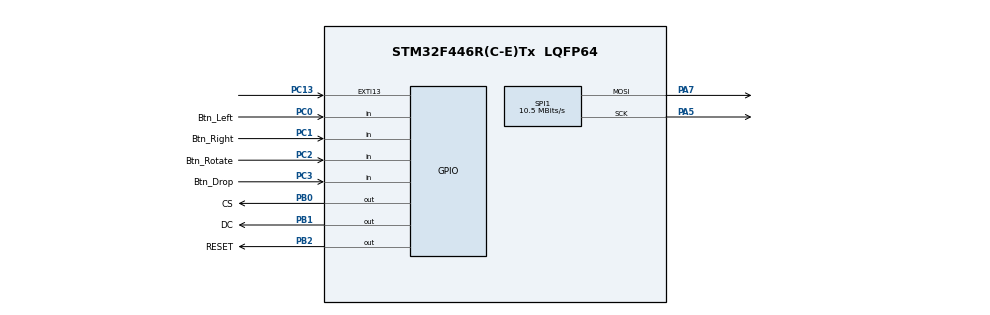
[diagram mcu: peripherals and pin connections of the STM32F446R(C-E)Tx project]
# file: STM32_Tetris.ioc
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Dma.Request0=SPI1_TX
Dma.SPI1_TX.0.Direction=DMA_MEMORY_TO_PERIPH
Dma.SPI1_TX.0.FIFOMode=DMA_FIFOMODE_DISABLE
Dma.SPI1_TX.0.Instance=DMA2_Stream3
Dma.SPI1_TX.0.MemDataAlignment=DMA_MDATAALIGN_BYTE
Dma.SPI1_TX.0.MemInc=DMA_MINC_ENABLE
Dma.SPI1_TX.0.Mode=DMA_NORMAL
Dma.SPI1_TX.0.PeriphDataAlignment=DMA_PDATAALIGN_BYTE
Dma.SPI1_TX.0.PeriphInc=DMA_PINC_DISABLE
Dma.SPI1_TX.0.Priority=DMA_PRIORITY_HIGH
Mcu.Family=STM32F4
Mcu.Name=STM32F446R(C-E)Tx
Mcu.Package=LQFP64
NUCLEO-F446RE.BUTTON=1
NUCLEO-F446RE.Bsp_Common_DEMO=true
NUCLEO-F446RE.LD1=true
NVIC.DMA2_Stream3_IRQn=true\:0\:0\:false\:false\:true\:false\:true\:true
NVIC.EXTI15_10_IRQn=true\:0\:0\:false\:false\:true\:false\:true\:true
NVIC.PriorityGroup=NVIC_PRIORITYGROUP_0
PA13.GPIO_Label=TMS
PA13.Signal=SYS_JTMS-SWDIO
PA14.GPIO_Label=TCK
PA14.Signal=SYS_JTCK-SWCLK
PA2.GPIO_Label=USART_TX
PA2.Signal=USART2_TX
PA3.GPIO_Label=USART_RX
PA3.Signal=USART2_RX
PA5.Mode=TX_Only_Simplex_Unidirect_Master
PA5.Signal=SPI1_SCK
PA7.Mode=TX_Only_Simplex_Unidirect_Master
PA7.Signal=SPI1_MOSI
PB0.GPIO_Label=CS
PB0.Signal=GPIO_Output
PB1.GPIO_Label=DC
PB1.Signal=GPIO_Output
PB2.GPIO_Label=RESET
PB2.Signal=GPIO_Output
PB3.GPIO_Label=SWO
PB3.Signal=SYS_JTDO-SWO
PC0.GPIO_Label=Btn_Left
PC0.GPIO_PuPd=GPIO_PULLUP
PC0.Signal=GPIO_Input
PC1.GPIO_Label=Btn_Right
PC1.GPIO_PuPd=GPIO_PULLUP
PC1.Signal=GPIO_Input
PC13.Signal=GPXTI13
PC14-OSC32_IN.Signal=RCC_OSC32_IN
PC15-OSC32_OUT.Signal=RCC_OSC32_OUT
PC2.GPIO_Label=Btn_Rotate
PC2.GPIO_PuPd=GPIO_PULLUP
PC2.Signal=GPIO_Input
PC3.GPIO_Label=Btn_Drop
PC3.GPIO_PuPd=GPIO_PULLUP
PC3.Signal=GPIO_Input
PH0-OSC_IN.Mode=HSE-External-Clock-Source
PH0-OSC_IN.Signal=RCC_OSC_IN
PH1-OSC_OUT.Mode=HSE-External-Clock-Source
PH1-OSC_OUT.Signal=RCC_OSC_OUT
ProjectManager.HeapSize=0x200
ProjectManager.StackSize=0x400
ProjectManager.TargetToolchain=EWARM V8.50
RCC.AHBFreq_Value=84000000
RCC.APB1CLKDivider=RCC_HCLK_DIV2
RCC.APB1Freq_Value=42000000
RCC.APB1TimFreq_Value=84000000
RCC.APB2Freq_Value=84000000
RCC.APB2TimFreq_Value=84000000
RCC.CortexFreq_Value=84000000
RCC.FLatency-AdvancedSettings=FLASH_LATENCY_2
RCC.HCLKFreq_Value=84000000
RCC.HSE_VALUE=8000000
RCC.HSI_VALUE=16000000
RCC.LSE_VALUE=32768
RCC.PLLN=336
RCC.PLLP=RCC_PLLP_DIV4
RCC.SYSCLKFreq_VALUE=84000000
RCC.SYSCLKSource=RCC_SYSCLKSOURCE_PLLCLK
RCC.USBFreq_Value=168000000
RCC.VCOOutputFreq_Value=336000000
SPI1.BaudRatePrescaler=SPI_BAUDRATEPRESCALER_8
SPI1.CalculateBaudRate=10.5 MBits/s
SPI1.DataSize=SPI_DATASIZE_8BIT
SPI1.Direction=SPI_DIRECTION_2LINES
SPI1.Mode=SPI_MODE_MASTER
SPI1.VirtualType=VM_MASTER
VP_NUCLEO-F446RE_VS_BSP_COMMON.Mode=COMMON
board=NUCLEO-F446RE

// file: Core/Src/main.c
/* USER CODE BEGIN Header */
/**
 ******************************************************************************
 * @file           : main.c
 * @brief          : Main program body
 ******************************************************************************
 * @attention
 *
 * Copyright (c) 2026 STMicroelectronics.
 * All rights reserved.
 *
 * This software is licensed under terms that can be found in the LICENSE file
 * in the root directory of this software component.
 * If no LICENSE file comes with this software, it is provided AS-IS.
 *
 ******************************************************************************
 */
/* USER CODE END Header */
#include "main.h"
#include "dma.h"
#include "gpio.h"
#include "spi.h"

/* USER CODE BEGIN Includes */
#include "display.h"
#include "tetris_core.h"
#include "tetromino.h"
#include <stdbool.h>
#include <stdio.h>

/* USER CODE END Includes */

/* Button state */
/* Level 1 Bare-metal: Button state definitions */
#define BUTTON_RELEASED 0U
#define BUTTON_PRESSED 1U

/* USER CODE BEGIN PV */
// UART_HandleTypeDef huart2;
/* USER CODE END PV */

/* SysTick millisecond counter */
volatile uint32_t ms_ticks = 0;

// documented in STM arm M4 MCU programming manual
void systick_init(uint32_t sys_clk_hz) {
  // 1 mm tick
  SysTick->LOAD = (sys_clk_hz / 1000U) - 1U;
  SysTick->VAL = 0U;

  // Control aand Status register
  // Tells the timer to use the main processor clock rather than an external,
  // slower clock, enables the hardware exception request and turns the timer on
  // and starts the actual countdown.
  SysTick->CTRL = SysTick_CTRL_CLKSOURCE_Msk | SysTick_CTRL_TICKINT_Msk |
                  SysTick_CTRL_ENABLE_Msk;
}

uint32_t get_millis(void) { return ms_ticks; }

void delay_ms(uint32_t ms) {
  uint32_t start = ms_ticks;
  while ((ms_ticks - start) < ms)
    ;
}

void SystemClock_Config(void);
/* USER CODE BEGIN PFP */
// void MX_USART2_UART_Init(void);
/* USER CODE END PFP */

/* USER CODE BEGIN 0 */
/* --- Original HAL UART (Commented Out) ---
void MX_USART2_UART_Init(void) {
  __HAL_RCC_USART2_CLK_ENABLE();
  huart2.Instance = USART2;
  ...
}

int _write(int file, char *ptr, int len) {
  (void)file;
  HAL_UART_Transmit(&huart2, (uint8_t *)ptr, len, HAL_MAX_DELAY);
  return len;
}
--- End Original HAL UART --- */
/* USER CODE END 0 */

int main(void) {

  /* MCU Configuration--------------------------------------------------------*/

  /* Level 1 Bare-metal: Commented out HAL_Init() */
  // HAL_Init();

  /* Initialize SysTick timer for 1ms interrupts (default 16MHz HSI clock) */
  systick_init(16000000U);

  /* Configure the system clock */
  SystemClock_Config();

  /* Initialize all configured peripherals */
  MX_GPIO_Init();
  MX_DMA_Init();
  MX_SPI1_Init();
  /* USER CODE BEGIN 2 */
  // MX_USART2_UART_Init();

  display_init();

  tetris_game_t game;
  tetris_init(&game);
  display_render_game(&game);
  /* USER CODE END 2 */

  /* Infinite loop */
  /* USER CODE BEGIN WHILE */
  uint32_t last_gravity_time = get_millis();
  uint32_t last_frame_time = get_millis();

  uint8_t prev_left = 1;
  uint8_t prev_right = 1;
  uint8_t prev_rotate = 1;
  uint8_t prev_drop = 1;

  while (true) {
    uint32_t now = get_millis();

    /* --- Original HAL ReadPin ---
    GPIO_PinState curr_left = HAL_GPIO_ReadPin(Btn_Left_GPIO_Port,
    Btn_Left_Pin); GPIO_PinState curr_right =
    HAL_GPIO_ReadPin(Btn_Right_GPIO_Port, Btn_Right_Pin); GPIO_PinState
    curr_rotate = HAL_GPIO_ReadPin(Btn_Rotate_GPIO_Port, Btn_Rotate_Pin);
    GPIO_PinState curr_drop = HAL_GPIO_ReadPin(Btn_Drop_GPIO_Port,
    Btn_Drop_Pin);
    ---------------------------------------------- */

    /* Read from GPIOC input data registers for button states */
    uint8_t curr_left = (GPIOC->IDR >> Btn_Left_Pin_Pos) & 1U;
    uint8_t curr_right = (GPIOC->IDR >> Btn_Right_Pin_Pos) & 1U;
    uint8_t curr_rotate = (GPIOC->IDR >> Btn_Rotate_Pin_Pos) & 1U;
    uint8_t curr_drop = (GPIOC->IDR >> Btn_Drop_Pin_Pos) & 1U;

    tetris_input_t input = TETRIS_INPUT_NONE;

    if (prev_left == 1 && curr_left == 0) {
      input |= TETRIS_INPUT_LEFT;
    }
    if (prev_right == 1 && curr_right == 0) {
      input |= TETRIS_INPUT_RIGHT;
    }
    if (prev_rotate == 1 && curr_rotate == 0) {
      input |= TETRIS_INPUT_ROTATE;
    }
    if (prev_drop == 1 && curr_drop == 0) {
      input |= TETRIS_INPUT_DROP;
    }

    prev_left = curr_left;
    prev_right = curr_right;
    prev_rotate = curr_rotate;
    prev_drop = curr_drop;

    // If game over and any button pressed, restart
    if (game.state == TETRIS_STATE_GAME_OVER && input != TETRIS_INPUT_NONE) {
      tetris_init(&game);
      display_render_game(&game);
      input = TETRIS_INPUT_NONE;
    }

    // Gravity Tick Calculation (speeds up with level)
    uint32_t gravity_interval = 800;
    if (game.level > 1 && game.level <= 10) {
      gravity_interval = 800 - (game.level - 1) * 70;
    } else if (game.level > 10) {
      gravity_interval = 120;
    }

    bool gravity_tick = false;
    if (now - last_gravity_time >= gravity_interval) {
      gravity_tick = true;
      last_gravity_time = now;
    }

    // Step Game Simulation
    if (input != TETRIS_INPUT_NONE || gravity_tick) {
      tetris_step(&game, input, gravity_tick);
    }

    //  every 25 ms (1/25e-3 = 40fps)
    if (now - last_frame_time >= 25) {
      last_frame_time = now;
      display_render_game(&game);
    }

    delay_ms(10);
    /* USER CODE END WHILE */

  }
}

void SystemClock_Config(void) {
  /* =========================================================================
   * Bare-Metal Clock Configuration (To be implemented by you if desired)
   * Refer to Reference Manual RM0390 -> Section: Reset and Clock Control (RCC)
   * By default on reset, the STM32F446 runs on the internal 16MHz HSI clock.
   * If configuring PLL (e.g. up to 180MHz):
   * 1. Enable PWR clock, configure voltage scaling (PWR->CR)
   * 2. Configure Flash latency wait states (FLASH->ACR)
   * 3. Configure PLL multipliers/dividers (RCC->PLLCFGR)
   * 4. Enable PLL and wait for PLLRDY (RCC->CR)
   * 5. Switch SYSCLK to PLL (RCC->CFGR)
   * =========================================================================
   */

  /* --- Original HAL Clock Configuration (Commented Out) ---
  RCC_OscInitTypeDef RCC_OscInitStruct = {0};
  RCC_ClkInitTypeDef RCC_ClkInitStruct = {0};

  __HAL_RCC_PWR_CLK_ENABLE();
  __HAL_PWR_VOLTAGESCALING_CONFIG(PWR_REGULATOR_VOLTAGE_SCALE3);

  RCC_OscInitStruct.OscillatorType = RCC_OSCILLATORTYPE_HSI;
  RCC_OscInitStruct.HSIState = RCC_HSI_ON;
  RCC_OscInitStruct.HSICalibrationValue = RCC_HSICALIBRATION_DEFAULT;
  RCC_OscInitStruct.PLL.PLLState = RCC_PLL_ON;
  RCC_OscInitStruct.PLL.PLLSource = RCC_PLLSOURCE_HSI;
  RCC_OscInitStruct.PLL.PLLM = 16;
  RCC_OscInitStruct.PLL.PLLN = 336;
  RCC_OscInitStruct.PLL.PLLP = RCC_PLLP_DIV4;
  RCC_OscInitStruct.PLL.PLLQ = 2;
  RCC_OscInitStruct.PLL.PLLR = 2;
  if (HAL_RCC_OscConfig(&RCC_OscInitStruct) != HAL_OK) {
    Error_Handler();
  }

  RCC_ClkInitStruct.ClockType = RCC_CLOCKTYPE_HCLK | RCC_CLOCKTYPE_SYSCLK |
                                RCC_CLOCKTYPE_PCLK1 | RCC_CLOCKTYPE_PCLK2;
  RCC_ClkInitStruct.SYSCLKSource = RCC_SYSCLKSOURCE_PLLCLK;
  RCC_ClkInitStruct.AHBCLKDivider = RCC_SYSCLK_DIV1;
  RCC_ClkInitStruct.APB1CLKDivider = RCC_HCLK_DIV2;
  RCC_ClkInitStruct.APB2CLKDivider = RCC_HCLK_DIV1;

  if (HAL_RCC_ClockConfig(&RCC_ClkInitStruct, FLASH_LATENCY_2) != HAL_OK) {
    Error_Handler();
  }
  --- End Original HAL Clock Configuration --- */
}

/* --- Original HAL EXTI Callback (Commented Out) ---
void HAL_GPIO_EXTI_Callback(uint16_t GPIO_Pin) {
  if (GPIO_Pin == USER_BUTTON_PIN) {
    BspButtonState = BUTTON_PRESSED;
  }
}
--- End HAL EXTI Callback --- */

void Error_Handler(void) {
  __disable_irq();
  while (1) {
  }
}
#ifdef USE_FULL_ASSERT
/**
 * @brief  Reports the name of the source file and the source line number
 *         where the assert_param error has occurred.
 * @param  file: pointer to the source file name
 * @param  line: assert_param error line source number
 * @retval None
 */
void assert_failed(uint8_t *file, uint32_t line) {
  /* USER CODE BEGIN 6 */
  /* User can add his own implementation to report the file name and line
     number, ex: printf("Wrong parameters value: file %s on line %d\r\n", file,
     line) */
  /* USER CODE END 6 */
}
#endif /* USE_FULL_ASSERT */
